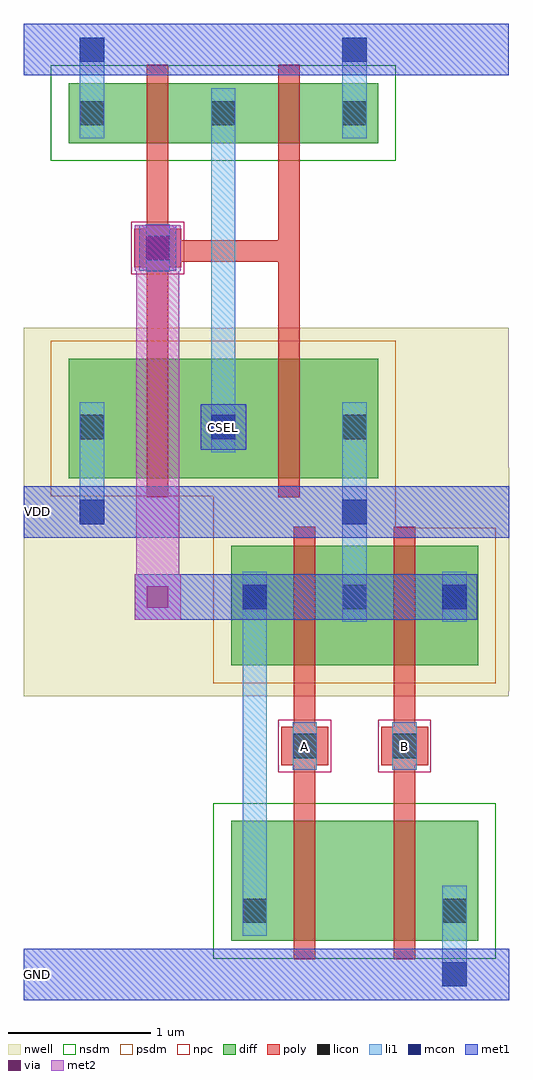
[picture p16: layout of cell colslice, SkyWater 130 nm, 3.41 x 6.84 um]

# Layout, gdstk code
import gdstk
lib = gdstk.Library(unit=1e-6, precision=1e-09)
def R(c, l, rs):  # rectangles x0, y0, x1, y1
    for r in rs: c.add(gdstk.rectangle(r[:2], r[2:], *l))
def A(c, l, x, y, w, h, nx, ny, dx, dy):  # array of equal rectangles
    R(c, l, [(x+i*dx, y+j*dy, x+i*dx+w, y+j*dy+h) for i in range(nx) for j in range(ny)])
nwell = (64, 20)
diff = (65, 20)
poly = (66, 20)
licon = (66, 44)
li1 = (67, 20)
mcon = (67, 44)
met1 = (68, 20)
via = (68, 44)
met2 = (69, 20)
nsdm = (93, 44)
psdm = (94, 20)
npc = (95, 20)

csdrv = lib.new_cell('csdrv')
R(csdrv, nwell, [(0,1.985,2.61,3.55)])
R(csdrv, diff, [(0.22,0.235,2.39,0.655), (0.22,2.165,2.39,3.005)])
R(csdrv, poly, [(0.77,0.105,0.92,1.255), (1.69,0.105,1.84,1.335), (0.68,1.255,1.01,1.335), (0.68,1.335,1.84,1.485), (0.68,1.485,1.01,1.525), (1.69,1.485,1.84,3.135), (0.77,1.525,0.92,3.135)])
A(csdrv, licon, 0.3, 0.36, 0.17, 0.17, 3, 2, 0.92, 2.2)
R(csdrv, licon, [(0.76,1.305,0.93,1.475)])
R(csdrv, li1, [(0.3,-0.085,0.47,0.62), (2.14,-0.085,2.31,0.62), (1.22,0.27,1.39,2.82), (0.76,1.225,0.93,1.555), (0.3,2.47,0.47,3.325), (2.14,2.47,2.31,3.325)])
R(csdrv, mcon, [(0.3,-0.085,0.47,0.085), (2.14,-0.085,2.31,0.085), (1.22,2.56,1.39,2.73), (0.3,3.155,0.47,3.325), (2.14,3.155,2.31,3.325)])
R(csdrv, met1, [(0,-0.18,2.61,0.18), (1.145,2.485,1.465,2.805), (0,3.06,2.61,3.42)])
R(csdrv, nsdm, [(0.095,0.11,2.515,0.78)])
R(csdrv, psdm, [(0.095,2.04,2.515,3.13)])
R(csdrv, npc, [(0.66,1.205,1.03,1.575)])
csdrv.add(gdstk.Label('A', (0.845,1.39), layer=67, texttype=5))
csdrv.add(gdstk.Label('Y', (1.305,2.645), layer=68, texttype=5))
csdrv.add(gdstk.Label('VDD', (0.1,3.24), layer=68, texttype=5))
csdrv.add(gdstk.Label('GND', (0.1,0), layer=68, texttype=5))

nand2 = lib.new_cell('nand2')
R(nand2, nwell, [(0,1.985,2.17,3.55)])
R(nand2, diff, [(0.22,0.235,1.95,1.075), (0.22,2.165,1.95,3.005)])
R(nand2, poly, [(0.66,0.105,0.81,1.465), (1.36,0.105,1.51,1.465), (0.57,1.465,0.9,1.735), (1.27,1.465,1.6,1.735), (0.66,1.735,0.81,3.135), (1.36,1.735,1.51,3.135)])
A(nand2, licon, 0.3, 2.56, 0.17, 0.17, 3, 1, 0.7, 0)
R(nand2, licon, [(0.3,0.36,0.47,0.53), (1.7,0.36,1.87,0.53), (0.65,1.515,0.82,1.685), (1.35,1.515,1.52,1.685)])
R(nand2, li1, [(1.7,-0.085,1.87,0.62), (0.3,0.27,0.47,2.82), (0.65,1.435,0.82,1.765), (1.35,1.435,1.52,1.765), (1,2.47,1.17,3.325), (1.7,2.47,1.87,2.82)])
R(nand2, mcon, [(1.7,-0.085,1.87,0.085), (0.3,2.56,0.47,2.73), (1.7,2.56,1.87,2.73), (1,3.155,1.17,3.325)])
R(nand2, met1, [(0,-0.18,2.17,0.18), (0.225,2.485,1.945,2.805), (0,3.06,2.17,3.42)])
R(nand2, nsdm, [(0.095,0.11,2.075,1.2)])
R(nand2, psdm, [(0.095,2.04,2.075,3.13)])
R(nand2, npc, [(0.55,1.415,0.92,1.785), (1.25,1.415,1.62,1.785)])
nand2.add(gdstk.Label('A', (0.735,1.6), layer=67, texttype=5))
nand2.add(gdstk.Label('B', (1.435,1.6), layer=67, texttype=5))
nand2.add(gdstk.Label('Y', (0.385,2.645), layer=68, texttype=5))
nand2.add(gdstk.Label('VDD', (0.1,3.24), layer=68, texttype=5))
nand2.add(gdstk.Label('GND', (0.1,0), layer=68, texttype=5))

colslice = lib.new_cell('colslice')
R(colslice, nwell, [(0,1.95,3.4,4.53)])
R(colslice, li1, [(1.885,1.515,2.055,1.685), (2.585,1.515,2.755,1.685), (0.855,5.005,1.025,5.175)])
R(colslice, mcon, [(0.855,5.005,1.025,5.175)])
A(colslice, met1, 0, -0.18, 3.4, 0.36, 1, 3, 0, 3.24)
R(colslice, met1, [(0.78,2.485,1.62,2.805), (1.315,3.75,1.485,3.92), (0.81,4.93,1.07,5.25)])
R(colslice, via, [(0.865,2.57,1.015,2.72), (0.865,5.015,1.015,5.165)])
R(colslice, met2, [(0.78,2.485,1.1,2.805), (0.79,2.805,1.09,4.93), (0.78,4.93,1.1,5.25)])
R(colslice, psdm, [(1.33,3.13,2.61,3.35)])
colslice.add(gdstk.Reference(csdrv, (0.095,6.48), x_reflection=True))
colslice.add(gdstk.Reference(nand2, (1.235,0)))
colslice.add(gdstk.Label('A', (1.97,1.6), layer=67, texttype=5))
colslice.add(gdstk.Label('B', (2.67,1.6), layer=67, texttype=5))
colslice.add(gdstk.Label('CSEL', (1.4,3.835), layer=68, texttype=5))
colslice.add(gdstk.Label('VDD', (0.1,3.24), layer=68, texttype=5))
colslice.add(gdstk.Label('GND', (0.1,0), layer=68, texttype=5))

lib.write_gds('colslice.gds')
